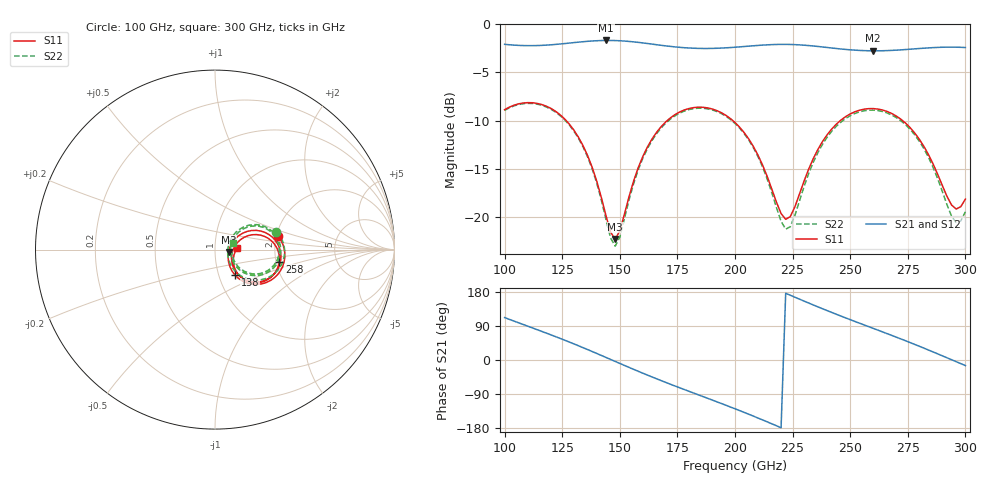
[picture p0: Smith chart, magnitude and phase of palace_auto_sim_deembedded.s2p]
! Created with skrf 1.11.0 (http://scikit-rf.org).
# GHz S DB R 50.0
!freq dBS11 angS11 dBS21 angS21 dBS12 angS12 dBS22 angS22
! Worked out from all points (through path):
!   101 points, 100 GHz to 300 GHz, reference 50 ohm
!   highest |S21| = -1.70 dB at 144 GHz (marker M1); lowest = -2.8 dB at 260 GHz (marker M2)
!   group delay of S21, straight-line fit = 6.77 ps
!   lowest |S11| = -22.3 dB at 148 GHz (marker M3), VSWR 1.17, Z = 58.2 - j1.48 ohm
!   |S11| at or under -10 dB: 126.7 GHz to 170.6 GHz (43.95 GHz wide, 29.6 % of centre); 199 GHz to 245.8 GHz (46.77 GHz wide, 21 % of centre); 272.7 GHz to end of sweep
!   |S22| runs from -23.0 to -8.2 dB; largest |S21 - S12| = 9.1e-14
!   S11 on the Smith chart (normalised r, x): 100 GHz: 2.05, +0.35; 138 GHz: 1.19, -0.35; 258 GHz: 2.08, -0.33; 300 GHz: 1.28, +0.02
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100  -8.88 11.8  -2.10 112.0  -2.10 112.0  -8.95 16.4
118  -8.50 -21.7  -2.18 71.2  -2.18 71.2  -8.58 -16.5
134  -12.59 -48.7  -1.83 32.7  -1.83 32.7  -12.71 -43.4
138  -14.85 -51.9  -1.75 22.4  -1.75 22.4  -15.01 -46.8
144  -19.87 -42.1  -1.70 6.8  -1.70 6.8  -20.27 -37.5
148  -22.30 -9.5  -1.71 -3.8  -1.71 -3.8  -23.03 -2.8
158  -14.89 30.7  -1.89 -29.8  -1.89 -29.8  -15.11 39.7
168  -10.62 19.0  -2.20 -54.5  -2.20 -54.5  -10.76 27.8
184  -8.62 -8.7  -2.52 -91.7  -2.52 -91.7  -8.72 0.3
200  -10.21 -35.4  -2.40 -128.7  -2.40 -128.7  -10.30 -26.6
212  -14.64 -47.3  -2.18 -158.2  -2.18 -158.2  -14.83 -39.6
222  -20.25 -14.7  -2.10 176.1  -2.10 176.1  -21.27 -6.0
224  -19.96 -0.8  -2.11 170.9  -2.11 170.9  -21.01 10.2
234  -13.94 22.8  -2.27 145.2  -2.27 145.2  -14.32 36.3
246  -9.95 8.9  -2.58 115.9  -2.58 115.9  -10.15 21.7
258  -8.77 -11.0  -2.76 88.0  -2.76 88.0  -8.93 1.5
260  -8.76 -14.3  -2.77 83.5  -2.77 83.5  -8.92 -1.9
268  -9.27 -27.6  -2.73 65.0  -2.73 65.0  -9.42 -15.4
278  -11.29 -42.0  -2.57 41.1  -2.57 41.1  -11.48 -30.7
286  -14.52 -46.9  -2.44 21.2  -2.44 21.2  -14.87 -37.0
296  -19.18 -16.7  -2.39 -4.4  -2.39 -4.4  -20.60 -5.2
300  -18.15 4.1  -2.43 -14.7  -2.43 -14.7  -19.46 20.5
